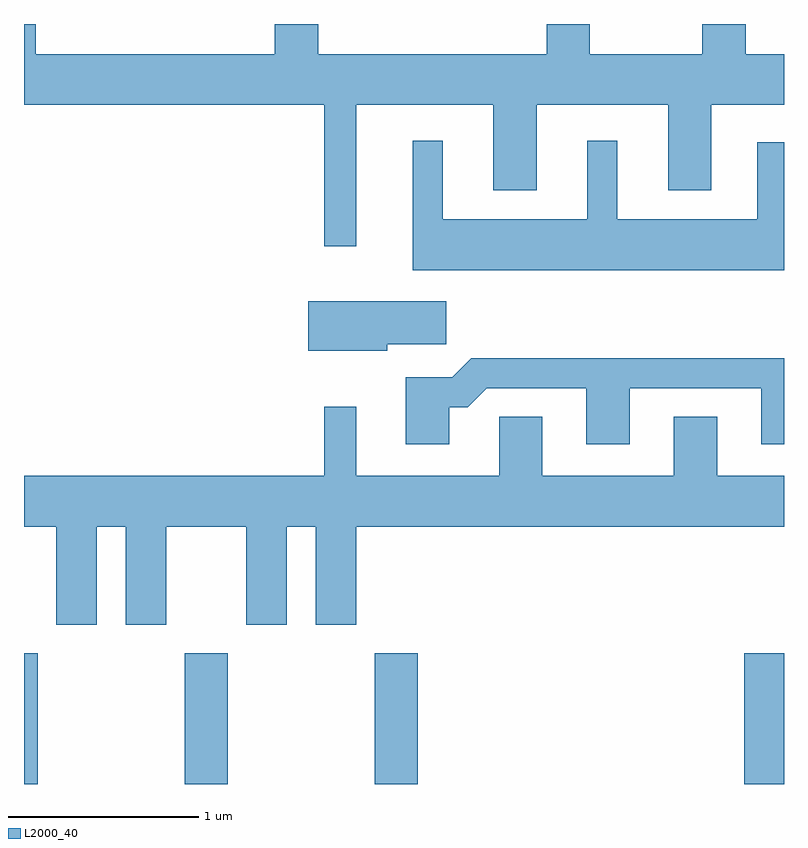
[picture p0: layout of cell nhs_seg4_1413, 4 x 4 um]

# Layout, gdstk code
import gdstk
lib = gdstk.Library(unit=1e-6, precision=1e-09)
def R(c, l, rs):  # rectangles x0, y0, x1, y1
    for r in rs: c.add(gdstk.rectangle(r[:2], r[2:], *l))
def P(c, l, *ps):  # polygons
    for p in ps: c.add(gdstk.Polygon(p, *l))
L2000_40 = (2000, 40)

nhs_seg4_1413 = lib.new_cell('nhs_seg4_1413')
R(nhs_seg4_1413, L2000_40, [(225.611,1359.982,225.684,1360.669), (226.456,1359.982,226.684,1360.669), (227.456,1359.982,227.684,1360.669), (229.401,1359.982,229.611,1360.669)])
P(nhs_seg4_1413, L2000_40, [(226.759,1363.982),(225.923,1363.982),(225.924,1363.981),(226.759,1363.981)],
  [(227.359,1363.556),(228.081,1363.556),(228.081,1363.106),(228.309,1363.106),(228.309,1363.556),(229.001,1363.556),(229.001,1363.106),(229.229,1363.106),(229.229,1363.556),(229.611,1363.556),(229.611,1363.824),(229.409,1363.824),(229.409,1363.982),(229.181,1363.982),(229.181,1363.824),(228.589,1363.824),(228.589,1363.982),(228.361,1363.982),(228.361,1363.824),(227.159,1363.824),(227.159,1363.982),(226.931,1363.982),(226.931,1363.824),(225.674,1363.824),(225.674,1363.982),(225.611,1363.982),(225.611,1363.556),(227.191,1363.556),(227.191,1362.813),(227.359,1362.813)],
  [(229.611,1363.359),(229.471,1363.359),(229.471,1362.954),(228.734,1362.954),(228.734,1363.368),(228.576,1363.368),(228.576,1362.954),(227.814,1362.954),(227.814,1363.368),(227.656,1363.368),(227.656,1362.686),(229.611,1362.686)],
  [(227.524,1362.296),(227.834,1362.296),(227.834,1362.524),(227.106,1362.524),(227.106,1362.261),(227.524,1362.261)],
  [(227.849,1361.966),(227.947,1361.966),(228.047,1362.066),(228.571,1362.066),(228.571,1361.771),(228.799,1361.771),(228.799,1362.066),(229.491,1362.066),(229.491,1361.771),(229.611,1361.771),(229.611,1362.224),(227.964,1362.224),(227.864,1362.124),(227.621,1362.124),(227.621,1361.771),(227.849,1361.771)],
  [(225.994,1361.336),(226.146,1361.336),(226.146,1360.821),(226.359,1360.821),(226.359,1361.336),(226.781,1361.336),(226.781,1360.821),(226.994,1360.821),(226.994,1361.336),(227.146,1361.336),(227.146,1360.821),(227.359,1360.821),(227.359,1361.336),(229.611,1361.336),(229.611,1361.604),(229.259,1361.604),(229.259,1361.914),(229.031,1361.914),(229.031,1361.604),(228.339,1361.604),(228.339,1361.914),(228.111,1361.914),(228.111,1361.604),(227.359,1361.604),(227.359,1361.968),(227.191,1361.968),(227.191,1361.604),(225.611,1361.604),(225.611,1361.336),(225.781,1361.336),(225.781,1360.821),(225.994,1360.821)])

lib.write_gds('nhs_seg4_1413.gds')
